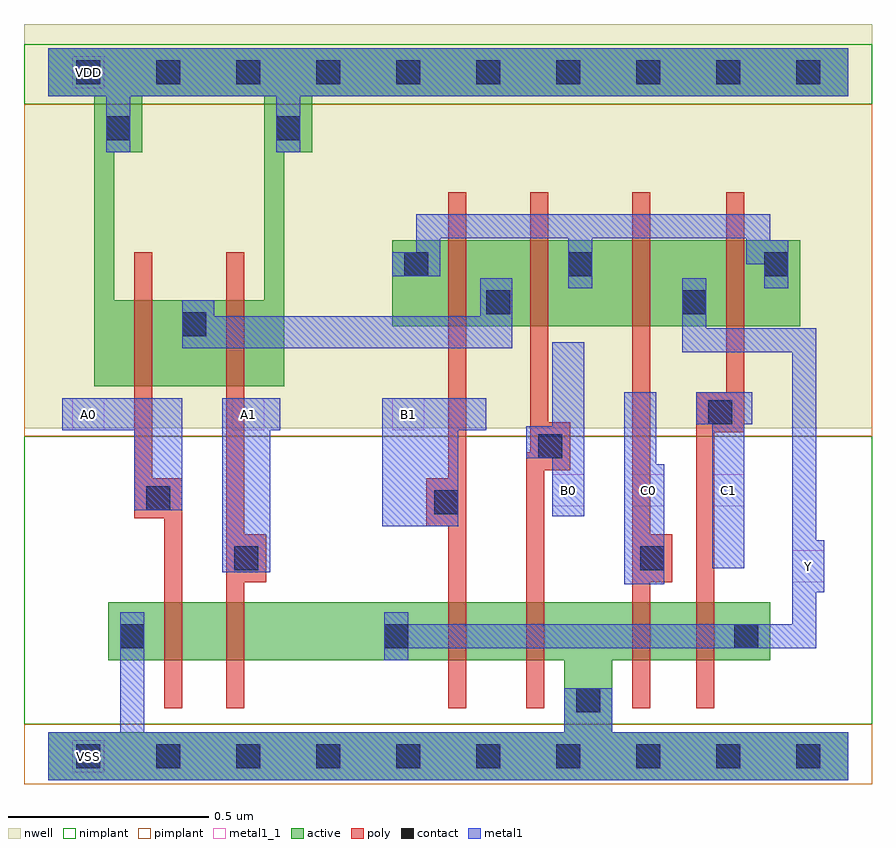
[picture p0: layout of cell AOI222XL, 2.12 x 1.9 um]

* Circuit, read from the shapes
.subckt AOI222XL A0 A1 B0 B1 C0 C1 VDD VSS Y
M1 n1 A0 VSS VSS nfet w=0.145u l=0.045u
M2 Y A1 n1 VSS nfet w=0.145u l=0.045u
M3 n2 B1 Y VSS nfet w=0.145u l=0.045u
M4 VSS B0 n2 VSS nfet w=0.145u l=0.045u
M5 n3 C0 VSS VSS nfet w=0.145u l=0.045u
M6 Y C1 n3 VSS nfet w=0.145u l=0.045u
M7 n4 A0 VDD VDD pfet w=0.215u l=0.045u
M8 VDD A1 n4 VDD pfet w=0.215u l=0.045u
M9 n4 B1 n5 VDD pfet w=0.215u l=0.045u
M10 n5 B0 n4 VDD pfet w=0.215u l=0.045u
M11 Y C0 n5 VDD pfet w=0.215u l=0.045u
M12 n5 C1 Y VDD pfet w=0.215u l=0.045u
.ends

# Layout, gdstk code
import gdstk
lib = gdstk.Library(unit=1e-6, precision=5e-10)
def R(c, l, rs):  # rectangles x0, y0, x1, y1
    for r in rs: c.add(gdstk.rectangle(r[:2], r[2:], *l))
def A(c, l, x, y, w, h, nx, ny, dx, dy):  # array of equal rectangles
    R(c, l, [(x+i*dx, y+j*dy, x+i*dx+w, y+j*dy+h) for i in range(nx) for j in range(ny)])
def P(c, l, *ps):  # polygons
    for p in ps: c.add(gdstk.Polygon(p, *l))
active = (1, 0)
nwell = (2, 0)
poly = (3, 0)
nimplant = (4, 0)
pimplant = (5, 0)
contact = (6, 0)
metal1 = (7, 0)
metal1_1 = (7, 1)

aoi222xl = lib.new_cell('AOI222XL')
R(aoi222xl, active, [(0.86,1.075,1.88,1.29)])
P(aoi222xl, active, [(0,1.77),(2,1.77),(2,1.65),(0.66,1.65),(0.66,1.51),(0.59,1.51),(0.59,0.925),(0.115,0.925),(0.115,1.65),(0.235,1.65),(0.235,1.51),(0.165,1.51),(0.165,1.14),(0.54,1.14),(0.54,1.65),(0,1.65)],
  [(0.15,0.385),(1.805,0.385),(1.805,0.24),(1.41,0.24),(1.41,0.06),(2,0.06),(2,-0.06),(0,-0.06),(0,0.06),(1.29,0.06),(1.29,0.24),(0.15,0.24)])
R(aoi222xl, nwell, [(-0.06,0.82,2.06,1.83)])
P(aoi222xl, poly, [(0.215,1.26),(0.26,1.26),(0.26,0.695),(0.335,0.695),(0.335,0.12),(0.29,0.12),(0.29,0.595),(0.215,0.595)],
  [(0.445,1.26),(0.49,1.26),(0.49,0.555),(0.545,0.555),(0.545,0.435),(0.49,0.435),(0.49,0.12),(0.445,0.12)],
  [(1,1.41),(1.045,1.41),(1.045,0.12),(1,0.12),(1,0.575),(0.945,0.575),(0.945,0.695),(1,0.695)],
  [(1.205,1.41),(1.25,1.41),(1.25,0.835),(1.305,0.835),(1.305,0.715),(1.24,0.715),(1.24,0.12),(1.195,0.12),(1.195,0.76),(1.205,0.76)],
  [(1.46,1.41),(1.505,1.41),(1.505,0.555),(1.56,0.555),(1.56,0.435),(1.505,0.435),(1.505,0.12),(1.46,0.12)],
  [(1.695,1.41),(1.74,1.41),(1.74,0.81),(1.665,0.81),(1.665,0.12),(1.62,0.12),(1.62,0.91),(1.695,0.91)])
R(aoi222xl, nimplant, [(-0.06,0.08,2.06,0.8), (-0.06,1.63,2.06,1.78)])
R(aoi222xl, pimplant, [(-0.06,-0.07,2.06,0.08), (-0.06,0.8,2.06,1.63)])
A(aoi222xl, contact, 0.07, -0.03, 0.06, 0.06, 10, 2, 0.2, 1.71)
R(aoi222xl, contact, [(1.32,0.11,1.38,0.17), (0.18,0.27,0.24,0.33), (0.84,0.27,0.9,0.33), (1.715,0.27,1.775,0.33), (0.465,0.465,0.525,0.525), (1.48,0.465,1.54,0.525), (0.965,0.605,1.025,0.665), (0.245,0.615,0.305,0.675), (1.225,0.745,1.285,0.805), (1.65,0.83,1.71,0.89), (0.335,1.05,0.395,1.11), (1.095,1.105,1.155,1.165), (1.585,1.105,1.645,1.165), (0.89,1.2,0.95,1.26), (1.3,1.2,1.36,1.26), (1.79,1.2,1.85,1.26), (0.145,1.54,0.205,1.6), (0.57,1.54,0.63,1.6)])
P(aoi222xl, metal1, [(0,1.77),(2,1.77),(2,1.65),(0.63,1.65),(0.63,1.51),(0.57,1.51),(0.57,1.65),(0.205,1.65),(0.205,1.51),(0.145,1.51),(0.145,1.65),(0,1.65)],
  [(0.92,1.355),(1.805,1.355),(1.805,1.29),(1.85,1.29),(1.85,1.17),(1.79,1.17),(1.79,1.23),(1.745,1.23),(1.745,1.295),(1.36,1.295),(1.36,1.17),(1.3,1.17),(1.3,1.295),(0.98,1.295),(0.98,1.2),(0.86,1.2),(0.86,1.26),(0.92,1.26)],
  [(0.335,1.14),(0.415,1.14),(0.415,1.1),(1.08,1.1),(1.08,1.195),(1.16,1.195),(1.16,1.02),(0.335,1.02)],
  [(1.585,1.195),(1.645,1.195),(1.645,1.07),(1.92,1.07),(1.92,0.54),(1.94,0.54),(1.94,0.41),(1.92,0.41),(1.92,0.27),(0.9,0.27),(0.9,0.24),(0.84,0.24),(0.84,0.36),(0.9,0.36),(0.9,0.33),(1.86,0.33),(1.86,1.01),(1.585,1.01)],
  [(1.26,1.035),(1.34,1.035),(1.34,0.6),(1.26,0.6),(1.26,0.745),(1.195,0.745),(1.195,0.825),(1.26,0.825)],
  [(1.62,0.91),(1.76,0.91),(1.76,0.83),(1.74,0.83),(1.74,0.47),(1.66,0.47),(1.66,0.83),(1.62,0.83)],
  [(1.44,0.91),(1.52,0.91),(1.52,0.73),(1.54,0.73),(1.54,0.43),(1.44,0.43)],
  [(0.435,0.895),(0.58,0.895),(0.58,0.815),(0.555,0.815),(0.555,0.46),(0.435,0.46)],
  [(0.035,0.895),(0.335,0.895),(0.335,0.615),(0.215,0.615),(0.215,0.815),(0.035,0.815)],
  [(0.835,0.895),(1.095,0.895),(1.095,0.815),(1.025,0.815),(1.025,0.575),(0.835,0.575)],
  [(0.18,0.36),(0.24,0.36),(0.24,0.06),(1.29,0.06),(1.29,0.17),(1.41,0.17),(1.41,0.06),(2,0.06),(2,-0.06),(0,-0.06),(0,0.06),(0.18,0.06)])
A(aoi222xl, metal1_1, 1.26, 0.625, 0.08, 0.08, 3, 1, 0.2, 0)
A(aoi222xl, metal1_1, 0.06, 0.815, 0.08, 0.08, 3, 1, 0.4, 0)
R(aoi222xl, metal1_1, [(0.06,-0.04,0.14,0.04), (1.86,0.435,1.94,0.515), (0.06,1.67,0.14,1.75)])
aoi222xl.add(gdstk.Label('Y', (1.9,0.475), layer=7, texttype=1))
aoi222xl.add(gdstk.Label('B1', (0.9,0.855), layer=7, texttype=1))
aoi222xl.add(gdstk.Label('C1', (1.7,0.665), layer=7, texttype=1))
aoi222xl.add(gdstk.Label('A0', (0.1,0.855), layer=7, texttype=1))
aoi222xl.add(gdstk.Label('B0', (1.3,0.665), layer=7, texttype=1))
aoi222xl.add(gdstk.Label('C0', (1.5,0.665), layer=7, texttype=1))
aoi222xl.add(gdstk.Label('A1', (0.5,0.855), layer=7, texttype=1))
aoi222xl.add(gdstk.Label('VDD', (0.1,1.71), layer=7, texttype=1))
aoi222xl.add(gdstk.Label('VSS', (0.1,0), layer=7, texttype=1))
aoi222xl.add(gdstk.Label('AOI222XL', (0,0), layer=63, texttype=0))

lib.write_gds('AOI222XL.gds')
